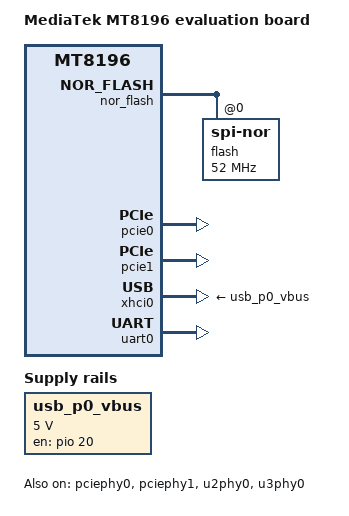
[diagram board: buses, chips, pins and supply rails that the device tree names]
// SPDX-License-Identifier: (GPL-2.0 OR MIT)
/*
 * Copyright (C) 2021 MediaTek Inc.
 * Author: Seiya Wang <seiya.wang@mediatek.com>
 */
/dts-v1/;
#include "mt8196.dtsi"
#include <dt-bindings/gpio/gpio.h>

/ {
	model = "MediaTek MT8196 evaluation board";
	compatible = "mediatek,mt8196-evb", "mediatek,mt8196";

	/* chosen */
	chosen: chosen {
		stdout-path = "serial0:115200n8";
	};

	usb_p0_vbus: regulator@0 {
		compatible = "regulator-fixed";
		regulator-name = "vbus";
		regulator-min-microvolt = <5000000>;
		regulator-max-microvolt = <5000000>;
		gpio = <&pio 20 GPIO_ACTIVE_HIGH>;
		enable-active-high;
	};
};

&nor_flash {
	pinctrl-names = "default";
	pinctrl-0 = <&nor_pins_default>;
	#address-cells = <1>;
	#size-cells = <0>;
	status = "okay";

	flash@0 {
		compatible = "jedec,spi-nor";
		reg = <0>;
		spi-max-frequency = <52000000>;
	};
};

&pcie0 {
	pinctrl-names = "default";
	pinctrl-0 = <&pcie0_pins_default>;
	status = "okay";
};

&pcie1 {
	pinctrl-names = "default";
	pinctrl-0 = <&pcie1_pins_default>;
	status = "okay";
};

&pciephy0 {
	status = "okay";
};

&pciephy1 {
	status = "okay";
};

&pio {
	nor_pins_default: nor-default-pins {
		pins0 {
			pinmux = <PINMUX_GPIO102__FUNC_SF_CK>;
			bias-pull-down = <MTK_PULL_SET_RSEL_000>;
			mediatek,drive-strength-adv = <0>;
			drive-strength = <14>;
		};

		pins1 {
			pinmux = <PINMUX_GPIO101__FUNC_SF_CS>;
			bias-pull-up = <MTK_PULL_SET_RSEL_000>;
			mediatek,drive-strength-adv = <0>;
			drive-strength = <14>;
		};

		pins2 {
			pinmux = <PINMUX_GPIO91__FUNC_SF_D0>,
				 <PINMUX_GPIO92__FUNC_SF_D1>;
			bias-pull-down;
			drive-strength = <14>;
		};
	};

	xhci0_pins_default: xhci0-default-pins {
		pins-cmd-dat {
			pinmux = <PINMUX_GPIO72__FUNC_GPIO72>;
			output-high;
		};
	};

	pcie0_pins_default: pcie0-default {
		pins-cmd-dat {
			pinmux = <PINMUX_GPIO241__FUNC_PCIE_PERSTN>,
				 <PINMUX_GPIO242__FUNC_PCIE_WAKEN>,
				 <PINMUX_GPIO243__FUNC_PCIE_CLKREQN>;
			bias-pull-up;
		};
	};

	pcie1_pins_default: pcie1-default {
		pins-cmd-dat {
			pinmux = <PINMUX_GPIO145__FUNC_PCIE_WAKEN_1P>,
				 <PINMUX_GPIO146__FUNC_PCIE_PERSTN_1P>,
				 <PINMUX_GPIO147__FUNC_PCIE_CLKREQN_1P>;
			bias-pull-up = <MTK_PUPD_SET_R1R0_01>;
		};
	};
};

&xhci0 {
	pinctrl-names = "default";
	pinctrl-0 = <&xhci0_pins_default>;
	vbus-supply = <&usb_p0_vbus>;
	status = "okay";
};

&u2phy0 {
	status = "okay";
};

&u3phy0 {
	status = "okay";
};

&uart0 {
	status = "okay";
};
